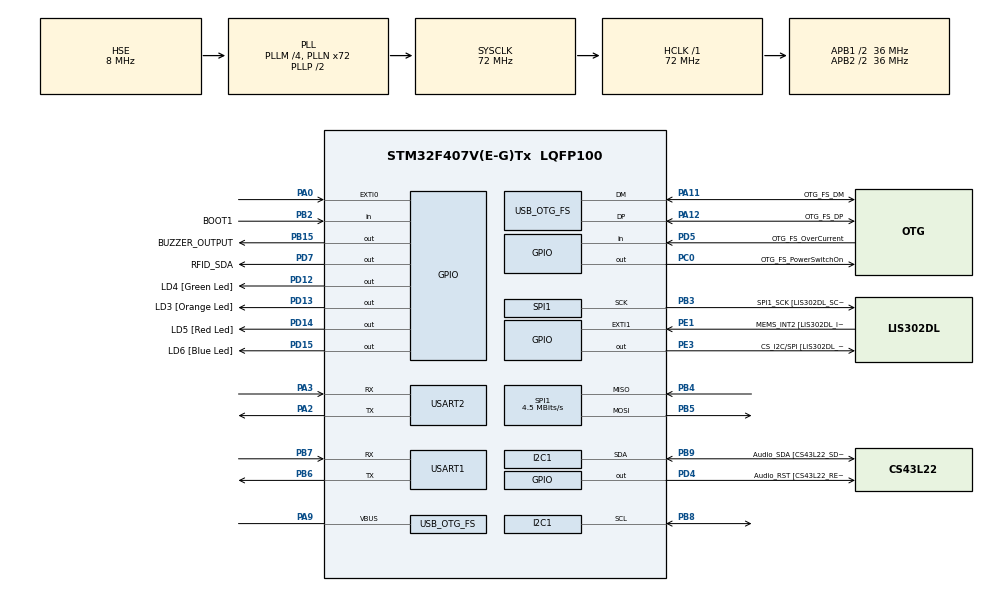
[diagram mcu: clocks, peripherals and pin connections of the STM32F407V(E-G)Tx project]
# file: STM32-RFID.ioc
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Mcu.Family=STM32F4
Mcu.Name=STM32F407V(E-G)Tx
Mcu.Package=LQFP100
NVIC.EXTI0_IRQn=true\:0\:0\:false\:false\:true\:true\:true\:true
NVIC.OTG_FS_IRQn=true\:0\:0\:false\:false\:true\:true\:true\:true
NVIC.PriorityGroup=NVIC_PRIORITYGROUP_0
PA0-WKUP.Signal=GPXTI0
PA11.GPIO_Label=OTG_FS_DM
PA11.GPIO_Mode=GPIO_MODE_AF_PP
PA11.GPIO_PuPd=GPIO_NOPULL
PA11.GPIO_Speed=GPIO_SPEED_FREQ_LOW
PA11.Mode=Host_Only
PA11.Signal=USB_OTG_FS_DM
PA12.GPIO_Label=OTG_FS_DP
PA12.GPIO_Mode=GPIO_MODE_AF_PP
PA12.GPIO_PuPd=GPIO_NOPULL
PA12.GPIO_Speed=GPIO_SPEED_FREQ_LOW
PA12.Mode=Host_Only
PA12.Signal=USB_OTG_FS_DP
PA13.GPIO_Label=SWDIO
PA13.Mode=Serial_Wire
PA13.Signal=SYS_JTMS-SWDIO
PA14.GPIO_Label=SWCLK
PA14.Mode=Serial_Wire
PA14.Signal=SYS_JTCK-SWCLK
PA2.Mode=Asynchronous
PA2.Signal=USART2_TX
PA3.Mode=Asynchronous
PA3.Signal=USART2_RX
PA4.GPIO_Label=I2S3_WS [CS43L22_LRCK]
PA4.GPIO_Mode=GPIO_MODE_AF_PP
PA4.GPIO_PuPd=GPIO_NOPULL
PA4.GPIO_Speed=GPIO_SPEED_FREQ_LOW
PA4.Signal=I2S3_WS
PA9.Mode=Activate_VBUS
PA9.Signal=USB_OTG_FS_VBUS
PB10.GPIO_Label=CLK_IN [MP45DT02_CLK]
PB10.GPIO_Mode=GPIO_MODE_AF_PP
PB10.GPIO_PuPd=GPIO_NOPULL
PB10.GPIO_Speed=GPIO_SPEED_FREQ_LOW
PB10.Signal=I2S2_CK
PB15.GPIO_Label=BUZZER_OUTPUT
PB15.Signal=GPIO_Output
PB2.GPIO_Label=BOOT1
PB2.GPIO_Mode=GPIO_MODE_INPUT
PB2.GPIO_PuPd=GPIO_NOPULL
PB2.Signal=GPIO_Input
PB3.GPIO_Label=SPI1_SCK [LIS302DL_SCL/SPC]
PB3.GPIO_Mode=GPIO_MODE_AF_PP
PB3.GPIO_PuPd=GPIO_NOPULL
PB3.GPIO_Speed=GPIO_SPEED_FREQ_LOW
PB3.Mode=Full_Duplex_Master
PB3.Signal=SPI1_SCK
PB4.Mode=Full_Duplex_Master
PB4.Signal=SPI1_MISO
PB5.Mode=Full_Duplex_Master
PB5.Signal=SPI1_MOSI
PB6.Mode=Asynchronous
PB6.Signal=USART1_TX
PB7.Mode=Asynchronous
PB7.Signal=USART1_RX
PB8.Mode=I2C
PB8.Signal=I2C1_SCL
PB9.GPIO_Label=Audio_SDA [CS43L22_SDA]
PB9.GPIO_Mode=GPIO_MODE_AF_OD
PB9.GPIO_Pu=GPIO_PULLUP
PB9.GPIO_PuPd=GPIO_NOPULL
PB9.GPIO_Speed=GPIO_SPEED_FREQ_LOW
PB9.Mode=I2C
PB9.Signal=I2C1_SDA
PC0.GPIO_Label=OTG_FS_PowerSwitchOn
PC0.GPIO_PuPd=GPIO_NOPULL
PC0.GPIO_Speed=GPIO_SPEED_FREQ_LOW
PC0.PinState=GPIO_PIN_SET
PC0.Signal=GPIO_Output
PC10.GPIO_Label=I2S3_SCK [CS43L22_SCLK]
PC10.GPIO_Mode=GPIO_MODE_AF_PP
PC10.GPIO_PuPd=GPIO_NOPULL
PC10.GPIO_Speed=GPIO_SPEED_FREQ_LOW
PC10.Signal=I2S3_CK
PC12.GPIO_Label=I2S3_SD [CS43L22_SDIN]
PC12.GPIO_Mode=GPIO_MODE_AF_PP
PC12.GPIO_PuPd=GPIO_NOPULL
PC12.GPIO_Speed=GPIO_SPEED_FREQ_LOW
PC12.Signal=I2S3_SD
PC14-OSC32_IN.GPIO_Label=PC14-OSC32_IN
PC14-OSC32_IN.Signal=RCC_OSC32_IN
PC15-OSC32_OUT.GPIO_Label=PC15-OSC32_OUT
PC15-OSC32_OUT.Signal=RCC_OSC32_OUT
PC3.GPIO_Label=PDM_OUT [MP45DT02_DOUT]
PC3.GPIO_Mode=GPIO_MODE_AF_PP
PC3.GPIO_PuPd=GPIO_NOPULL
PC3.GPIO_Speed=GPIO_SPEED_FREQ_LOW
PC3.Signal=I2S2_SD
PC7.GPIO_Label=I2S3_MCK [CS43L22_MCLK]
PC7.GPIO_Mode=GPIO_MODE_AF_PP
PC7.GPIO_PuPd=GPIO_NOPULL
PC7.GPIO_Speed=GPIO_SPEED_FREQ_LOW
PC7.Signal=I2S3_MCK
PD12.GPIO_Label=LD4 [Green Led]
PD12.GPIO_PuPd=GPIO_NOPULL
PD12.GPIO_Speed=GPIO_SPEED_FREQ_LOW
PD12.Signal=GPIO_Output
PD13.GPIO_Label=LD3 [Orange Led]
PD13.GPIO_PuPd=GPIO_NOPULL
PD13.GPIO_Speed=GPIO_SPEED_FREQ_LOW
PD13.Signal=GPIO_Output
PD14.GPIO_Label=LD5 [Red Led]
PD14.GPIO_PuPd=GPIO_NOPULL
PD14.GPIO_Speed=GPIO_SPEED_FREQ_LOW
PD14.Signal=GPIO_Output
PD15.GPIO_Label=LD6 [Blue Led]
PD15.GPIO_PuPd=GPIO_NOPULL
PD15.GPIO_Speed=GPIO_SPEED_FREQ_LOW
PD15.Signal=GPIO_Output
PD4.GPIO_Label=Audio_RST [CS43L22_RESET]
PD4.GPIO_PuPd=GPIO_NOPULL
PD4.GPIO_Speed=GPIO_SPEED_FREQ_LOW
PD4.Signal=GPIO_Output
PD5.GPIO_Label=OTG_FS_OverCurrent
PD5.GPIO_Mode=GPIO_MODE_INPUT
PD5.GPIO_PuPd=GPIO_NOPULL
PD5.Signal=GPIO_Input
PD7.GPIO_Label=RFID_SDA
PD7.Signal=GPIO_Output
PE1.GPIO_Label=MEMS_INT2 [LIS302DL_INT2]
PE1.GPIO_ModeDefaultEXTI=GPIO_MODE_EVT_RISING
PE1.GPIO_PuPd=GPIO_NOPULL
PE1.Signal=GPXTI1
PE3.GPIO_Label=CS_I2C/SPI [LIS302DL_CS_I2C/SPI]
PE3.GPIO_PuPd=GPIO_NOPULL
PE3.GPIO_Speed=GPIO_SPEED_FREQ_LOW
PE3.Signal=GPIO_Output
PH0-OSC_IN.GPIO_Label=PH0-OSC_IN
PH0-OSC_IN.Mode=HSE-External-Oscillator
PH0-OSC_IN.Signal=RCC_OSC_IN
PH1-OSC_OUT.GPIO_Label=PH1-OSC_OUT
PH1-OSC_OUT.Mode=HSE-External-Oscillator
PH1-OSC_OUT.Signal=RCC_OSC_OUT
ProjectManager.HeapSize=0x200
ProjectManager.StackSize=0x400
ProjectManager.TargetToolchain=STM32CubeIDE
RCC.48MHZClocksFreq_Value=48000000
RCC.AHBFreq_Value=72000000
RCC.APB1CLKDivider=RCC_HCLK_DIV2
RCC.APB1Freq_Value=36000000
RCC.APB1TimFreq_Value=72000000
RCC.APB2CLKDivider=RCC_HCLK_DIV2
RCC.APB2Freq_Value=36000000
RCC.APB2TimFreq_Value=72000000
RCC.CortexFreq_Value=72000000
RCC.HCLKFreq_Value=72000000
RCC.HSE_VALUE=8000000
RCC.HSI_VALUE=16000000
RCC.LSE_VALUE=32768
RCC.PLLI2SN=50
RCC.PLLM=4
RCC.PLLN=72
RCC.PLLQ=3
RCC.SYSCLKFreq_VALUE=72000000
RCC.SYSCLKSource=RCC_SYSCLKSOURCE_PLLCLK
RCC.VCOOutputFreq_Value=144000000
SPI1.BaudRatePrescaler=SPI_BAUDRATEPRESCALER_8
SPI1.CalculateBaudRate=4.5 MBits/s
SPI1.Direction=SPI_DIRECTION_2LINES
SPI1.Mode=SPI_MODE_MASTER
SPI1.VirtualType=VM_MASTER
USART1.VirtualMode=VM_ASYNC
USART2.VirtualMode=VM_ASYNC
USB_HOST.BSP.number=1
USB_HOST.USBH_HandleTypeDef-CDC_FS=hUsbHostFS
USB_HOST.VirtualModeFS=Cdc
USB_HOST0.BSP.STBoard=false
USB_HOST0.BSP.api=Unknown
USB_HOST0.BSP.instance=PC0
USB_HOST0.BSP.ip=GPIO
USB_HOST0.BSP.mode=Output
USB_HOST0.BSP.name=Drive_VBUS_FS
USB_HOST0.BSP.solution=PC0
USB_OTG_FS.VirtualMode=Host_Only
USB_OTG_FS.phy_itface=HCD_PHY_EMBEDDED
VP_USB_HOST_VS_USB_HOST_CDC_FS.Mode=CDC_FS
board=STM32F407G-DISC1

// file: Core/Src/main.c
/* USER CODE BEGIN Header */
/**
 * AURHOR: MERT ELDEMIR
 *
 * This software is licensed under terms that can be found in the LICENSE file
 * in the root directory of this software component.
 * If no LICENSE file comes with this software, it is provided AS-IS.
 *
 ******************************************************************************
 */
/* USER CODE END Header */
#include "main.h"
#include "usb_host.h"

/* USER CODE BEGIN Includes */
#include "stdio.h"
#include "string.h"

#include "defines.h"
#include "MFRC522.h"
#include "lcd_util.h"
#include "buzzer_util.h"

/* USER CODE END Includes */

I2C_HandleTypeDef hi2c1;

SPI_HandleTypeDef hspi1;

UART_HandleTypeDef huart1;
UART_HandleTypeDef huart2;

void SystemClock_Config(void);
static void MX_GPIO_Init(void);
static void MX_SPI1_Init(void);
static void MX_USART1_UART_Init(void);
static void MX_I2C1_Init(void);
static void MX_USART2_UART_Init(void);
void MX_USB_HOST_Process(void);

/* USER CODE BEGIN 0 */

uint8_t HEARTBEAT_CODE[] = { 'H', 'B' };

// MFRC522 GLOBAL VARIABLES
MFRC522_Status_t status;
uint8_t CardUID[5];

uint8_t TempCardUID[4];
char TempCardHexStr[12];
char LastCardHexStr[12];

char SerialSendStr[14];

// RFID MODULE SETTINGS
RFID_Mode Rfid_Mode = RFID_READ;
uint8_t isRfidModeBtnPressed = 0;

// SERIAL COMMUNICATION STATUS & SETTINGS
SERIAL_Status Serial_Status = SERIAL_PENDING;

// RFID Mode Operations
void SetRfidModeLED() {
	if (Rfid_Mode == RFID_SAVE) {
		HAL_GPIO_WritePin(STM_LED_PORT, RFID_SAVE_LED_PIN, GPIO_PIN_SET);
	} else if (Rfid_Mode == RFID_READ) {
		HAL_GPIO_WritePin(STM_LED_PORT, RFID_READ_LED_PIN, GPIO_PIN_SET);
	}
}

// Reset RFID Mode & SERIAL Status LEDS
void ResetAllLedsSTM() {
	HAL_GPIO_WritePin(STM_LED_PORT, RFID_READ_LED_PIN, GPIO_PIN_RESET);
	HAL_GPIO_WritePin(STM_LED_PORT, RFID_SAVE_LED_PIN, GPIO_PIN_RESET);
	HAL_GPIO_WritePin(STM_LED_PORT, SERIAL_PENGING_LED_PIN, GPIO_PIN_RESET);
	HAL_GPIO_WritePin(STM_LED_PORT, SERIAL_ERR_LED_PIN, GPIO_PIN_RESET);
}

void ToggleRfidMode() {
	if (Serial_Status != SERIAL_OK) {
		return;
	}

	Rfid_Mode = (Rfid_Mode + 1) % 2;
	ResetAllLedsSTM();
	SetRfidModeLED();
}

void SetSerialErrorState() {
	Serial_Status = SERIAL_ERR;
	ResetAllLedsSTM();
	HAL_GPIO_WritePin(STM_LED_PORT, SERIAL_ERR_LED_PIN, GPIO_PIN_SET);
	printSerialErrorMessage();
	SerialErrBeep();
}

void SetSerialOkayState() {
	Serial_Status = SERIAL_OK;
	ResetAllLedsSTM();
	SetRfidModeLED();
	printRfidModeMessage(Rfid_Mode);
	SerialOkBeep();
}

void WaitStartupHeartbeatSerial() {
	uint8_t buffer[2];
	int startTime = HAL_GetTick();
	uint8_t remainingSec = 9;

	while ((HAL_GetTick() - startTime) < 10000) {
		if (HAL_UART_Receive(&huart2, buffer, sizeof(buffer), 100) == HAL_OK) {
			// HB received
			if (memcmp(HEARTBEAT_CODE, buffer, sizeof(HEARTBEAT_CODE)) == 0) {
				SetSerialOkayState();
				return;
			}
		}

		printSerialWaitingTimer(remainingSec);
		remainingSec = 9 - ((HAL_GetTick() - startTime) / 1000);
	}

	// No HB found
	// SetSerialErrorState();
	SetSerialOkayState();

}

// INTERRUPTS
void HAL_GPIO_EXTI_Callback(uint16_t GPIO_Pin) {
	if (GPIO_Pin == GPIO_PIN_0 && Serial_Status == SERIAL_OK) {
		ToggleRfidMode();
		printRfidModeMessage(Rfid_Mode);
		isRfidModeBtnPressed = 1;
	}
}

/* USER CODE END 0 */

int main(void) {

	/* MCU Configuration--------------------------------------------------------*/

	/* Reset of all peripherals, Initializes the Flash interface and the Systick. */
	HAL_Init();

	/* Configure the system clock */
	SystemClock_Config();

	/* Initialize all configured peripherals */
	MX_GPIO_Init();
	MX_SPI1_Init();
	MX_USB_HOST_Init();
	MX_USART1_UART_Init();
	MX_I2C1_Init();
	MX_USART2_UART_Init();

	/* USER CODE BEGIN 2 */
	HAL_UART_Init(&huart2);
	MFRC522_Init();
	lcd_init();

	// FIRST STARTUP FUNCTIONS
	printWelcomeMessage();
	HAL_Delay(2000);

	printSerialWaitingMessage();
	HAL_GPIO_WritePin(STM_LED_PORT, SERIAL_PENGING_LED_PIN, GPIO_PIN_SET);

	WaitStartupHeartbeatSerial();

	// Serial communication

	// e.g. str = 1 D6 97 71 AF rfidModePrefix = "1" -> SAVE
	// e.g. str = 0 D6 97 71 AF rfidModePrefix = "0" -> READ
	char rfidModePrefix[2];

	/* USER CODE END 2 */

	/* Infinite loop */
	/* USER CODE BEGIN WHILE */
	while (1) {
		if (Serial_Status != SERIAL_OK) {
			continue;
		}

		if (isRfidModeBtnPressed == 1) {
			memset(LastCardHexStr, 0, sizeof(LastCardHexStr));
			HAL_Delay(200);
			isRfidModeBtnPressed = 0;
		}

		// Check if card is presented
		if (MFRC522_Check(CardUID) == MI_OK) {
			memcpy(TempCardUID, CardUID, 4);

			snprintf(TempCardHexStr, sizeof(TempCardHexStr),
					"%02X %02X %02X %02X", TempCardUID[0], TempCardUID[1],
					TempCardUID[2], TempCardUID[3]);

			// if new card not detected
			if (strcmp(LastCardHexStr, TempCardHexStr) == 0) {
				continue;
			}

			strcpy(LastCardHexStr, TempCardHexStr);

			if (Rfid_Mode == RFID_READ) {
				rfidModePrefix[0] = '0';
			} else if (Rfid_Mode == RFID_SAVE) {
				rfidModePrefix[0] = '1';
			}

			rfidModePrefix[1] = ' ';

			snprintf(SerialSendStr, sizeof(SerialSendStr), "%s%s",
					rfidModePrefix, TempCardHexStr);

			HAL_UART_Transmit(&huart2, (uint8_t*) SerialSendStr,
					strlen(SerialSendStr), 10000);

			Beep();

			lcd_clear();
			lcd_put_cur(0, 0);
			lcd_send_string("CARD UID:");
			lcd_put_cur(1, 0);
			lcd_send_string(TempCardHexStr);

			HAL_Delay(750);

		}

		/* USER CODE END WHILE */
		MX_USB_HOST_Process();

	}
}

void SystemClock_Config(void) {
	RCC_OscInitTypeDef RCC_OscInitStruct = { 0 };
	RCC_ClkInitTypeDef RCC_ClkInitStruct = { 0 };

	/** Configure the main internal regulator output voltage
	 */
	__HAL_RCC_PWR_CLK_ENABLE();
	__HAL_PWR_VOLTAGESCALING_CONFIG(PWR_REGULATOR_VOLTAGE_SCALE1);

	/** Initializes the RCC Oscillators according to the specified parameters
	 * in the RCC_OscInitTypeDef structure.
	 */
	RCC_OscInitStruct.OscillatorType = RCC_OSCILLATORTYPE_HSE;
	RCC_OscInitStruct.HSEState = RCC_HSE_ON;
	RCC_OscInitStruct.PLL.PLLState = RCC_PLL_ON;
	RCC_OscInitStruct.PLL.PLLSource = RCC_PLLSOURCE_HSE;
	RCC_OscInitStruct.PLL.PLLM = 4;
	RCC_OscInitStruct.PLL.PLLN = 72;
	RCC_OscInitStruct.PLL.PLLP = RCC_PLLP_DIV2;
	RCC_OscInitStruct.PLL.PLLQ = 3;
	if (HAL_RCC_OscConfig(&RCC_OscInitStruct) != HAL_OK) {
		Error_Handler();
	}

	/** Initializes the CPU, AHB and APB buses clocks
	 */
	RCC_ClkInitStruct.ClockType = RCC_CLOCKTYPE_HCLK | RCC_CLOCKTYPE_SYSCLK
			| RCC_CLOCKTYPE_PCLK1 | RCC_CLOCKTYPE_PCLK2;
	RCC_ClkInitStruct.SYSCLKSource = RCC_SYSCLKSOURCE_PLLCLK;
	RCC_ClkInitStruct.AHBCLKDivider = RCC_SYSCLK_DIV1;
	RCC_ClkInitStruct.APB1CLKDivider = RCC_HCLK_DIV2;
	RCC_ClkInitStruct.APB2CLKDivider = RCC_HCLK_DIV2;

	if (HAL_RCC_ClockConfig(&RCC_ClkInitStruct, FLASH_LATENCY_2) != HAL_OK) {
		Error_Handler();
	}
}

static void MX_I2C1_Init(void) {

	hi2c1.Instance = I2C1;
	hi2c1.Init.ClockSpeed = 100000;
	hi2c1.Init.DutyCycle = I2C_DUTYCYCLE_2;
	hi2c1.Init.OwnAddress1 = 0;
	hi2c1.Init.AddressingMode = I2C_ADDRESSINGMODE_7BIT;
	hi2c1.Init.DualAddressMode = I2C_DUALADDRESS_DISABLE;
	hi2c1.Init.OwnAddress2 = 0;
	hi2c1.Init.GeneralCallMode = I2C_GENERALCALL_DISABLE;
	hi2c1.Init.NoStretchMode = I2C_NOSTRETCH_DISABLE;
	if (HAL_I2C_Init(&hi2c1) != HAL_OK) {
		Error_Handler();
	}

}

static void MX_SPI1_Init(void) {

	/* SPI1 parameter configuration*/
	hspi1.Instance = SPI1;
	hspi1.Init.Mode = SPI_MODE_MASTER;
	hspi1.Init.Direction = SPI_DIRECTION_2LINES;
	hspi1.Init.DataSize = SPI_DATASIZE_8BIT;
	hspi1.Init.CLKPolarity = SPI_POLARITY_LOW;
	hspi1.Init.CLKPhase = SPI_PHASE_1EDGE;
	hspi1.Init.NSS = SPI_NSS_SOFT;
	hspi1.Init.BaudRatePrescaler = SPI_BAUDRATEPRESCALER_8;
	hspi1.Init.FirstBit = SPI_FIRSTBIT_MSB;
	hspi1.Init.TIMode = SPI_TIMODE_DISABLE;
	hspi1.Init.CRCCalculation = SPI_CRCCALCULATION_DISABLE;
	hspi1.Init.CRCPolynomial = 10;
	if (HAL_SPI_Init(&hspi1) != HAL_OK) {
		Error_Handler();
	}

}

static void MX_USART1_UART_Init(void) {

	huart1.Instance = USART1;
	huart1.Init.BaudRate = 115200;
	huart1.Init.WordLength = UART_WORDLENGTH_8B;
	huart1.Init.StopBits = UART_STOPBITS_1;
	huart1.Init.Parity = UART_PARITY_NONE;
	huart1.Init.Mode = UART_MODE_TX_RX;
	huart1.Init.HwFlowCtl = UART_HWCONTROL_NONE;
	huart1.Init.OverSampling = UART_OVERSAMPLING_16;
	if (HAL_UART_Init(&huart1) != HAL_OK) {
		Error_Handler();
	}

}

static void MX_USART2_UART_Init(void) {

	huart2.Instance = USART2;
	huart2.Init.BaudRate = 115200;
	huart2.Init.WordLength = UART_WORDLENGTH_8B;
	huart2.Init.StopBits = UART_STOPBITS_1;
	huart2.Init.Parity = UART_PARITY_NONE;
	huart2.Init.Mode = UART_MODE_TX_RX;
	huart2.Init.HwFlowCtl = UART_HWCONTROL_NONE;
	huart2.Init.OverSampling = UART_OVERSAMPLING_16;
	if (HAL_UART_Init(&huart2) != HAL_OK) {
		Error_Handler();
	}

}

static void MX_GPIO_Init(void) {
	GPIO_InitTypeDef GPIO_InitStruct = { 0 };

	/* GPIO Ports Clock Enable */
	__HAL_RCC_GPIOE_CLK_ENABLE();
	__HAL_RCC_GPIOC_CLK_ENABLE();
	__HAL_RCC_GPIOH_CLK_ENABLE();
	__HAL_RCC_GPIOA_CLK_ENABLE();
	__HAL_RCC_GPIOB_CLK_ENABLE();
	__HAL_RCC_GPIOD_CLK_ENABLE();

	/*Configure GPIO pin Output Level */
	HAL_GPIO_WritePin(CS_I2C_SPI_GPIO_Port, CS_I2C_SPI_Pin, GPIO_PIN_RESET);

	/*Configure GPIO pin Output Level */
	HAL_GPIO_WritePin(OTG_FS_PowerSwitchOn_GPIO_Port, OTG_FS_PowerSwitchOn_Pin,
			GPIO_PIN_SET);

	/*Configure GPIO pin Output Level */
	HAL_GPIO_WritePin(BUZZER_OUTPUT_GPIO_Port, BUZZER_OUTPUT_Pin,
			GPIO_PIN_RESET);

	/*Configure GPIO pin Output Level */
	HAL_GPIO_WritePin(GPIOD,
	LD4_Pin | LD3_Pin | LD5_Pin | LD6_Pin | Audio_RST_Pin | RFID_SDA_Pin,
			GPIO_PIN_RESET);

	/*Configure GPIO pin : CS_I2C_SPI_Pin */
	GPIO_InitStruct.Pin = CS_I2C_SPI_Pin;
	GPIO_InitStruct.Mode = GPIO_MODE_OUTPUT_PP;
	GPIO_InitStruct.Pull = GPIO_NOPULL;
	GPIO_InitStruct.Speed = GPIO_SPEED_FREQ_LOW;
	HAL_GPIO_Init(CS_I2C_SPI_GPIO_Port, &GPIO_InitStruct);

	/*Configure GPIO pin : OTG_FS_PowerSwitchOn_Pin */
	GPIO_InitStruct.Pin = OTG_FS_PowerSwitchOn_Pin;
	GPIO_InitStruct.Mode = GPIO_MODE_OUTPUT_PP;
	GPIO_InitStruct.Pull = GPIO_NOPULL;
	GPIO_InitStruct.Speed = GPIO_SPEED_FREQ_LOW;
	HAL_GPIO_Init(OTG_FS_PowerSwitchOn_GPIO_Port, &GPIO_InitStruct);

	/*Configure GPIO pin : PDM_OUT_Pin */
	GPIO_InitStruct.Pin = PDM_OUT_Pin;
	GPIO_InitStruct.Mode = GPIO_MODE_AF_PP;
	GPIO_InitStruct.Pull = GPIO_NOPULL;
	GPIO_InitStruct.Speed = GPIO_SPEED_FREQ_LOW;
	GPIO_InitStruct.Alternate = GPIO_AF5_SPI2;
	HAL_GPIO_Init(PDM_OUT_GPIO_Port, &GPIO_InitStruct);

	/*Configure GPIO pin : PA0 */
	GPIO_InitStruct.Pin = GPIO_PIN_0;
	GPIO_InitStruct.Mode = GPIO_MODE_IT_RISING;
	GPIO_InitStruct.Pull = GPIO_NOPULL;
	HAL_GPIO_Init(GPIOA, &GPIO_InitStruct);

	/*Configure GPIO pin : I2S3_WS_Pin */
	GPIO_InitStruct.Pin = I2S3_WS_Pin;
	GPIO_InitStruct.Mode = GPIO_MODE_AF_PP;
	GPIO_InitStruct.Pull = GPIO_NOPULL;
	GPIO_InitStruct.Speed = GPIO_SPEED_FREQ_LOW;
	GPIO_InitStruct.Alternate = GPIO_AF6_SPI3;
	HAL_GPIO_Init(I2S3_WS_GPIO_Port, &GPIO_InitStruct);

	/*Configure GPIO pin : BOOT1_Pin */
	GPIO_InitStruct.Pin = BOOT1_Pin;
	GPIO_InitStruct.Mode = GPIO_MODE_INPUT;
	GPIO_InitStruct.Pull = GPIO_NOPULL;
	HAL_GPIO_Init(BOOT1_GPIO_Port, &GPIO_InitStruct);

	/*Configure GPIO pin : CLK_IN_Pin */
	GPIO_InitStruct.Pin = CLK_IN_Pin;
	GPIO_InitStruct.Mode = GPIO_MODE_AF_PP;
	GPIO_InitStruct.Pull = GPIO_NOPULL;
	GPIO_InitStruct.Speed = GPIO_SPEED_FREQ_LOW;
	GPIO_InitStruct.Alternate = GPIO_AF5_SPI2;
	HAL_GPIO_Init(CLK_IN_GPIO_Port, &GPIO_InitStruct);

	/*Configure GPIO pin : BUZZER_OUTPUT_Pin */
	GPIO_InitStruct.Pin = BUZZER_OUTPUT_Pin;
	GPIO_InitStruct.Mode = GPIO_MODE_OUTPUT_PP;
	GPIO_InitStruct.Pull = GPIO_NOPULL;
	GPIO_InitStruct.Speed = GPIO_SPEED_FREQ_LOW;
	HAL_GPIO_Init(BUZZER_OUTPUT_GPIO_Port, &GPIO_InitStruct);

	/*Configure GPIO pins : LD4_Pin LD3_Pin LD5_Pin LD6_Pin
	 Audio_RST_Pin RFID_SDA_Pin */
	GPIO_InitStruct.Pin = LD4_Pin | LD3_Pin | LD5_Pin | LD6_Pin | Audio_RST_Pin
			| RFID_SDA_Pin;
	GPIO_InitStruct.Mode = GPIO_MODE_OUTPUT_PP;
	GPIO_InitStruct.Pull = GPIO_NOPULL;
	GPIO_InitStruct.Speed = GPIO_SPEED_FREQ_LOW;
	HAL_GPIO_Init(GPIOD, &GPIO_InitStruct);

	/*Configure GPIO pins : I2S3_MCK_Pin I2S3_SCK_Pin I2S3_SD_Pin */
	GPIO_InitStruct.Pin = I2S3_MCK_Pin | I2S3_SCK_Pin | I2S3_SD_Pin;
	GPIO_InitStruct.Mode = GPIO_MODE_AF_PP;
	GPIO_InitStruct.Pull = GPIO_NOPULL;
	GPIO_InitStruct.Speed = GPIO_SPEED_FREQ_LOW;
	GPIO_InitStruct.Alternate = GPIO_AF6_SPI3;
	HAL_GPIO_Init(GPIOC, &GPIO_InitStruct);

	/*Configure GPIO pin : OTG_FS_OverCurrent_Pin */
	GPIO_InitStruct.Pin = OTG_FS_OverCurrent_Pin;
	GPIO_InitStruct.Mode = GPIO_MODE_INPUT;
	GPIO_InitStruct.Pull = GPIO_NOPULL;
	HAL_GPIO_Init(OTG_FS_OverCurrent_GPIO_Port, &GPIO_InitStruct);

	/*Configure GPIO pin : MEMS_INT2_Pin */
	GPIO_InitStruct.Pin = MEMS_INT2_Pin;
	GPIO_InitStruct.Mode = GPIO_MODE_EVT_RISING;
	GPIO_InitStruct.Pull = GPIO_NOPULL;
	HAL_GPIO_Init(MEMS_INT2_GPIO_Port, &GPIO_InitStruct);

	/* EXTI interrupt init*/
	HAL_NVIC_SetPriority(EXTI0_IRQn, 0, 0);
	HAL_NVIC_EnableIRQ(EXTI0_IRQn);

}

void Error_Handler(void) {
	__disable_irq();
	while (1) {
	}
}
